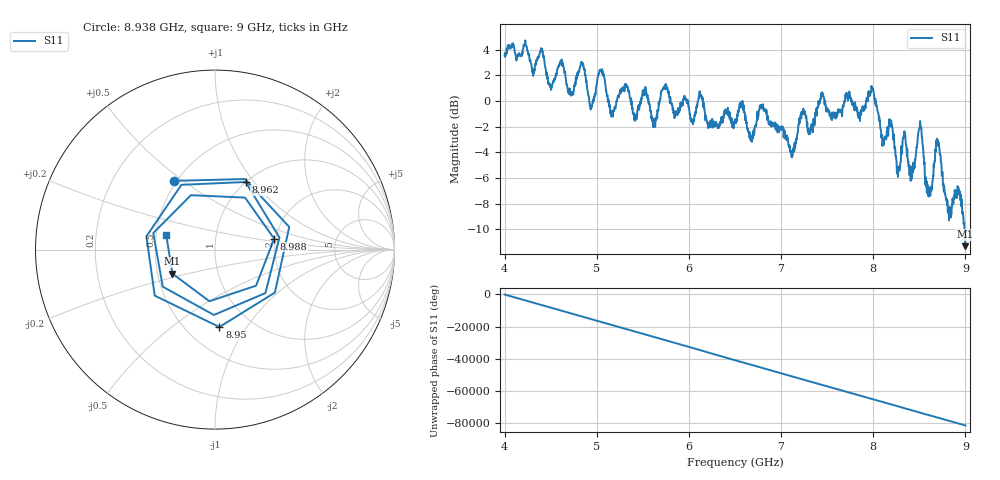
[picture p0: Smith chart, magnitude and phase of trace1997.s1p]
! Created with skrf 1.8.0 (http://scikit-rf.org).
# Hz S RI R 50.0
!freq ReS11 ImS11
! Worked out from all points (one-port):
!   1601 points, 4 GHz to 9 GHz, reference 50 ohm
!   lowest |S11| = -11.3 dB at 8.997 GHz (marker M1), VSWR 1.75, Z = 29.9 - j8.64 ohm
!   |S11| at or under -10 dB: 8.989821 GHz to end of sweep
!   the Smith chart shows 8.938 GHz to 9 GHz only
!   S11 on the Smith chart (normalised r, x): 8.938 GHz: 0.49, +0.46; 8.95 GHz: 0.71, -0.76; 8.962 GHz: 1.00, +0.91; 8.988 GHz: 1.96, +0.27; 9 GHz: 0.57, +0.10
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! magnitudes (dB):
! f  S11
! 4 GHz  3.5
! 4.625 GHz  2.9
! 4.725 GHz  0.7
! 4.844 GHz  2.9
! 4.941 GHz  -0.6
! 5.041 GHz  2.4
! 5.162 GHz  -1.0
! 5.25 GHz  0.6
! 5.875 GHz  -1.1
! 6.5 GHz  -1.6
! 6.794 GHz  -0.4
! 7.125 GHz  -4.1
! 7.234 GHz  -0.9
! 7.75 GHz  0.2
! 7.984 GHz  1.0
! 8.266 GHz  -5.2
! 8.375 GHz  -4.5
! 8.428 GHz  -5.3
! 8.506 GHz  -2.0
! 8.6 GHz  -7.4
! 8.697 GHz  -3.2
! 8.825 GHz  -8.8
! 8.938 GHz  -7.0
! 8.95 GHz  -7.3
! 8.962 GHz  -7.7
! 8.988 GHz  -9.5
! 8.997 GHz  -11.3
! 9 GHz  -10.9
